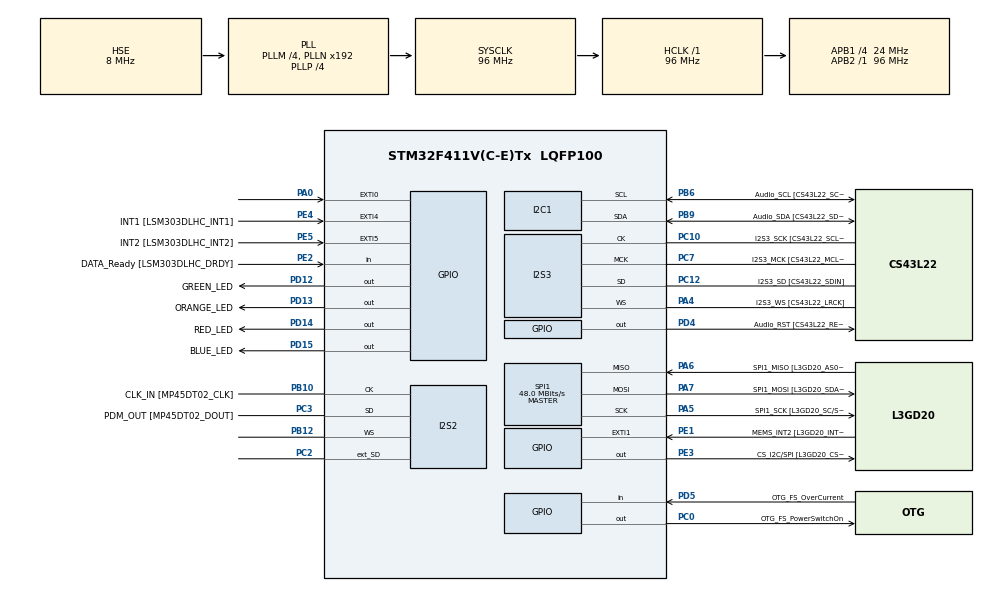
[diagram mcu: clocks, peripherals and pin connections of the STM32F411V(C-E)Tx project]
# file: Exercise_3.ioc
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FREERTOS.INCLUDE_vTaskDelayUntil=1
FREERTOS.Tasks01=GREEN_LED,0,128,Start_GREEN_LED,Default,NULL,Dynamic,NULL,NULL;RED_LED,0,128,Stat_RED_LED,Default,NULL,Dynamic,NULL,NULL
I2S2.AudioFreq=I2S_AUDIOFREQ_96K
I2S2.ErrorAudioFreq=0.15 %
I2S2.FullDuplexMode=I2S_FULLDUPLEXMODE_ENABLE
I2S2.Instance=SPI$Index
I2S2.RealAudioFreq=96.153 KHz
I2S2.VirtualMode=I2S_MODE_MASTER
I2S3.AudioFreq=I2S_AUDIOFREQ_96K
I2S3.ErrorAudioFreq=-6.99 %
I2S3.FullDuplexMode=I2S_FULLDUPLEXMODE_DISABLE
I2S3.Instance=SPI$Index
I2S3.RealAudioFreq=89.285 KHz
I2S3.VirtualMode=I2S_MODE_MASTER
Mcu.Family=STM32F4
Mcu.Name=STM32F411V(C-E)Tx
Mcu.Package=LQFP100
NVIC.PriorityGroup=NVIC_PRIORITYGROUP_4
NVIC.TIM1_UP_TIM10_IRQn=true\:0\:0\:false\:false\:true\:false\:false\:true
NVIC.TimeBase=TIM1_UP_TIM10_IRQn
NVIC.TimeBaseIP=TIM1
PA0-WKUP.GPIO_ModeDefaultEXTI=GPIO_MODE_EVT_RISING
PA0-WKUP.Signal=GPXTI0
PA10.GPIO_Label=OTG_FS_ID
PA10.Signal=USB_OTG_FS_ID
PA11.GPIO_Label=OTG_FS_DM
PA11.Signal=USB_OTG_FS_DM
PA12.GPIO_Label=OTG_FS_DP
PA12.Signal=USB_OTG_FS_DP
PA13.GPIO_Label=SWDIO
PA13.Mode=Serial_Wire
PA13.Signal=SYS_JTMS-SWDIO
PA14.GPIO_Label=SWCLK
PA14.Mode=Serial_Wire
PA14.Signal=SYS_JTCK-SWCLK
PA4.GPIO_Label=I2S3_WS [CS43L22_LRCK]
PA4.GPIO_Mode=GPIO_MODE_AF_PP
PA4.GPIO_PuPd=GPIO_NOPULL
PA4.GPIO_Speed=GPIO_SPEED_FREQ_LOW
PA4.Mode=Half_Duplex_Master
PA4.Signal=I2S3_WS
PA5.GPIO_Label=SPI1_SCK [L3GD20_SC/SPC]
PA5.Mode=Full_Duplex_Master
PA5.Signal=SPI1_SCK
PA6.GPIO_Label=SPI1_MISO [L3GD20_AS0/SDO]
PA6.Mode=Full_Duplex_Master
PA6.Signal=SPI1_MISO
PA7.GPIO_Label=SPI1_MOSI [L3GD20_SDA/SDI/SDO]
PA7.Mode=Full_Duplex_Master
PA7.Signal=SPI1_MOSI
PA9.GPIO_Label=VBUS_FS
PA9.Signal=USB_OTG_FS_VBUS
PB10.GPIO_Label=CLK_IN [MP45DT02_CLK]
PB10.Mode=Full_Duplex_Master
PB10.Signal=I2S2_CK
PB12.Mode=Full_Duplex_Master
PB12.Signal=I2S2_WS
PB3.GPIO_Label=SWO
PB3.Signal=SYS_JTDO-SWO
PB6.GPIO_Label=Audio_SCL [CS43L22_SCL]
PB6.GPIO_Mode=GPIO_MODE_AF_OD
PB6.GPIO_PuPd=GPIO_NOPULL
PB6.GPIO_Speed=GPIO_SPEED_FREQ_LOW
PB6.Mode=I2C
PB6.Signal=I2C1_SCL
PB9.GPIO_Label=Audio_SDA [CS43L22_SDA]
PB9.GPIO_Mode=GPIO_MODE_AF_OD
PB9.GPIO_PuPd=GPIO_NOPULL
PB9.GPIO_Speed=GPIO_SPEED_FREQ_LOW
PB9.Mode=I2C
PB9.Signal=I2C1_SDA
PC0.GPIO_Label=OTG_FS_PowerSwitchOn
PC0.PinState=GPIO_PIN_SET
PC0.Signal=GPIO_Output
PC10.GPIO_Label=I2S3_SCK [CS43L22_SCLK]
PC10.GPIO_Mode=GPIO_MODE_AF_PP
PC10.GPIO_PuPd=GPIO_NOPULL
PC10.GPIO_Speed=GPIO_SPEED_FREQ_LOW
PC10.Mode=Half_Duplex_Master
PC10.Signal=I2S3_CK
PC12.GPIO_Label=I2S3_SD [CS43L22_SDIN]
PC12.GPIO_Mode=GPIO_MODE_AF_PP
PC12.GPIO_PuPd=GPIO_NOPULL
PC12.GPIO_Speed=GPIO_SPEED_FREQ_LOW
PC12.Mode=Half_Duplex_Master
PC12.Signal=I2S3_SD
PC14-OSC32_IN.GPIO_Label=PC14-OSC32_IN
PC14-OSC32_IN.Mode=LSE-External-Oscillator
PC14-OSC32_IN.Signal=RCC_OSC32_IN
PC15-OSC32_OUT.GPIO_Label=PC15-OSC32_OUT
PC15-OSC32_OUT.Mode=LSE-External-Oscillator
PC15-OSC32_OUT.Signal=RCC_OSC32_OUT
PC2.Mode=Full_Duplex_Master
PC2.Signal=I2S2_ext_SD
PC3.GPIO_Label=PDM_OUT [MP45DT02_DOUT]
PC3.Mode=Full_Duplex_Master
PC3.Signal=I2S2_SD
PC7.GPIO_Label=I2S3_MCK [CS43L22_MCLK]
PC7.GPIO_Mode=GPIO_MODE_AF_PP
PC7.GPIO_PuPd=GPIO_NOPULL
PC7.GPIO_Speed=GPIO_SPEED_FREQ_LOW
PC7.Mode=Master_Clock_Activated
PC7.Signal=I2S3_MCK
PD12.GPIO_Label=GREEN_LED
PD12.GPIO_PuPd=GPIO_NOPULL
PD12.GPIO_Speed=GPIO_SPEED_FREQ_LOW
PD12.Signal=GPIO_Output
PD13.GPIO_Label=ORANGE_LED
PD13.GPIO_PuPd=GPIO_NOPULL
PD13.GPIO_Speed=GPIO_SPEED_FREQ_LOW
PD13.Signal=GPIO_Output
PD14.GPIO_Label=RED_LED
PD14.GPIO_PuPd=GPIO_NOPULL
PD14.GPIO_Speed=GPIO_SPEED_FREQ_LOW
PD14.Signal=GPIO_Output
PD15.GPIO_Label=BLUE_LED
PD15.GPIO_PuPd=GPIO_NOPULL
PD15.GPIO_Speed=GPIO_SPEED_FREQ_LOW
PD15.Signal=GPIO_Output
PD4.GPIO_Label=Audio_RST [CS43L22_RESET]
PD4.Signal=GPIO_Output
PD5.GPIO_Label=OTG_FS_OverCurrent
PD5.Signal=GPIO_Input
PE1.GPIO_Label=MEMS_INT2 [L3GD20_INT2]
PE1.GPIO_ModeDefaultEXTI=GPIO_MODE_EVT_RISING
PE1.Signal=GPXTI1
PE2.GPIO_Label=DATA_Ready [LSM303DLHC_DRDY]
PE2.Signal=GPIO_Input
PE3.GPIO_Label=CS_I2C/SPI [L3GD20_CS_I2C/SPI]
PE3.Signal=GPIO_Output
PE4.GPIO_Label=INT1 [LSM303DLHC_INT1]
PE4.GPIO_ModeDefaultEXTI=GPIO_MODE_EVT_RISING
PE4.Signal=GPXTI4
PE5.GPIO_Label=INT2 [LSM303DLHC_INT2]
PE5.GPIO_ModeDefaultEXTI=GPIO_MODE_EVT_RISING
PE5.Signal=GPXTI5
PH0\ -\ OSC_IN.GPIO_Label=PH0-OSC_IN
PH0\ -\ OSC_IN.Mode=HSE-External-Oscillator
PH0\ -\ OSC_IN.Signal=RCC_OSC_IN
PH1\ -\ OSC_OUT.GPIO_Label=PH1-OSC_OUT
PH1\ -\ OSC_OUT.Mode=HSE-External-Oscillator
PH1\ -\ OSC_OUT.Signal=RCC_OSC_OUT
ProjectManager.HeapSize=0x200
ProjectManager.StackSize=0x400
ProjectManager.TargetToolchain=STM32CubeIDE
RCC.48MHZClocksFreq_Value=48000000
RCC.AHBFreq_Value=96000000
RCC.APB1CLKDivider=RCC_HCLK_DIV4
RCC.APB1Freq_Value=24000000
RCC.APB1TimFreq_Value=48000000
RCC.APB2Freq_Value=96000000
RCC.APB2TimFreq_Value=96000000
RCC.CortexFreq_Value=96000000
RCC.HCLKFreq_Value=96000000
RCC.HSE_VALUE=8000000
RCC.HSI_VALUE=16000000
RCC.PLLI2SM=5
RCC.PLLI2SN=200
RCC.PLLM=4
RCC.PLLP=RCC_PLLP_DIV4
RCC.PLLQ=8
RCC.PLLSourceVirtual=RCC_PLLSOURCE_HSE
RCC.SYSCLKFreq_VALUE=96000000
RCC.SYSCLKSource=RCC_SYSCLKSOURCE_PLLCLK
RCC.VCOOutputFreq_Value=384000000
SPI1.BaudRatePrescaler=SPI_BAUDRATEPRESCALER_2
SPI1.CalculateBaudRate=48.0 MBits/s
SPI1.Direction=SPI_DIRECTION_2LINES
SPI1.Mode=SPI_MODE_MASTER
SPI1.VirtualType=VM_MASTER
VP_FREERTOS_VS_CMSIS_V1.Mode=CMSIS_V1
VP_SYS_VS_tim1.Mode=TIM1
board=STM32F411E-DISCO

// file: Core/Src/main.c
/* USER CODE BEGIN Header */
/**
  ******************************************************************************
  * @file           : main.c
  * @brief          : Main program body
  ******************************************************************************
  * @attention
  *
  * <h2><center>&copy; Copyright (c) 2024 STMicroelectronics.
  * All rights reserved.</center></h2>
  *
  * This software component is licensed by ST under Ultimate Liberty license
  * SLA0044, the "License"; You may not use this file except in compliance with
  * the License. You may obtain a copy of the License at:
  *                             www.st.com/SLA0044
  *
  ******************************************************************************
  */
/* USER CODE END Header */

#include "main.h"
#include "cmsis_os.h"

/* USER CODE BEGIN PTD */
#define GREEN_LED   GPIO_PIN_12
#define ORANGE_LED  GPIO_PIN_13
#define RED_LED     GPIO_PIN_14
#define BLUE_LED    GPIO_PIN_15
/* USER CODE END PTD */

I2C_HandleTypeDef hi2c1;

I2S_HandleTypeDef hi2s2;
I2S_HandleTypeDef hi2s3;

SPI_HandleTypeDef hspi1;

osThreadId GREEN_LEDHandle;
osThreadId RED_LEDHandle;

void SystemClock_Config(void);
static void MX_GPIO_Init(void);
static void MX_I2C1_Init(void);
static void MX_I2S2_Init(void);
static void MX_I2S3_Init(void);
static void MX_SPI1_Init(void);
void Start_GREEN_LED(void const * argument);
void Stat_RED_LED(void const * argument);

int main(void)
{

  /* MCU Configuration--------------------------------------------------------*/

  /* Reset of all peripherals, Initializes the Flash interface and the Systick. */
  HAL_Init();

  /* Configure the system clock */
  SystemClock_Config();

  /* Initialize all configured peripherals */
  MX_GPIO_Init();
  MX_I2C1_Init();
  MX_I2S2_Init();
  MX_I2S3_Init();
  MX_SPI1_Init();

  /* Create the thread(s) */
  /* definition and creation of GREEN_LED */
  osThreadDef(GREEN_LED, Start_GREEN_LED, osPriorityNormal, 0, 128);
  GREEN_LEDHandle = osThreadCreate(osThread(GREEN_LED), NULL);

  /* definition and creation of RED_LED */
  osThreadDef(RED_LED, Stat_RED_LED, osPriorityNormal, 0, 128);
  RED_LEDHandle = osThreadCreate(osThread(RED_LED), NULL);

  /* Start scheduler */
  osKernelStart();

  /* We should never get here as control is now taken by the scheduler */

  /* Infinite loop */
  while (1)
  {

  }
}

void SystemClock_Config(void)
{
  RCC_OscInitTypeDef RCC_OscInitStruct = {0};
  RCC_ClkInitTypeDef RCC_ClkInitStruct = {0};
  RCC_PeriphCLKInitTypeDef PeriphClkInitStruct = {0};

  /** Configure the main internal regulator output voltage
  */
  __HAL_RCC_PWR_CLK_ENABLE();
  __HAL_PWR_VOLTAGESCALING_CONFIG(PWR_REGULATOR_VOLTAGE_SCALE1);
  /** Initializes the CPU, AHB and APB busses clocks
  */
  RCC_OscInitStruct.OscillatorType = RCC_OSCILLATORTYPE_HSE;
  RCC_OscInitStruct.HSEState = RCC_HSE_ON;
  RCC_OscInitStruct.PLL.PLLState = RCC_PLL_ON;
  RCC_OscInitStruct.PLL.PLLSource = RCC_PLLSOURCE_HSE;
  RCC_OscInitStruct.PLL.PLLM = 4;
  RCC_OscInitStruct.PLL.PLLN = 192;
  RCC_OscInitStruct.PLL.PLLP = RCC_PLLP_DIV4;
  RCC_OscInitStruct.PLL.PLLQ = 8;
  if (HAL_RCC_OscConfig(&RCC_OscInitStruct) != HAL_OK)
  {
    Error_Handler();
  }
  /** Initializes the CPU, AHB and APB busses clocks
  */
  RCC_ClkInitStruct.ClockType = RCC_CLOCKTYPE_HCLK|RCC_CLOCKTYPE_SYSCLK
                              |RCC_CLOCKTYPE_PCLK1|RCC_CLOCKTYPE_PCLK2;
  RCC_ClkInitStruct.SYSCLKSource = RCC_SYSCLKSOURCE_PLLCLK;
  RCC_ClkInitStruct.AHBCLKDivider = RCC_SYSCLK_DIV1;
  RCC_ClkInitStruct.APB1CLKDivider = RCC_HCLK_DIV4;
  RCC_ClkInitStruct.APB2CLKDivider = RCC_HCLK_DIV1;

  if (HAL_RCC_ClockConfig(&RCC_ClkInitStruct, FLASH_LATENCY_3) != HAL_OK)
  {
    Error_Handler();
  }
  PeriphClkInitStruct.PeriphClockSelection = RCC_PERIPHCLK_I2S;
  PeriphClkInitStruct.PLLI2S.PLLI2SN = 200;
  PeriphClkInitStruct.PLLI2S.PLLI2SM = 5;
  PeriphClkInitStruct.PLLI2S.PLLI2SR = 2;
  if (HAL_RCCEx_PeriphCLKConfig(&PeriphClkInitStruct) != HAL_OK)
  {
    Error_Handler();
  }
}

static void MX_I2C1_Init(void)
{

  hi2c1.Instance = I2C1;
  hi2c1.Init.ClockSpeed = 100000;
  hi2c1.Init.DutyCycle = I2C_DUTYCYCLE_2;
  hi2c1.Init.OwnAddress1 = 0;
  hi2c1.Init.AddressingMode = I2C_ADDRESSINGMODE_7BIT;
  hi2c1.Init.DualAddressMode = I2C_DUALADDRESS_DISABLE;
  hi2c1.Init.OwnAddress2 = 0;
  hi2c1.Init.GeneralCallMode = I2C_GENERALCALL_DISABLE;
  hi2c1.Init.NoStretchMode = I2C_NOSTRETCH_DISABLE;
  if (HAL_I2C_Init(&hi2c1) != HAL_OK)
  {
    Error_Handler();
  }

}

static void MX_I2S2_Init(void)
{

  hi2s2.Instance = SPI2;
  hi2s2.Init.Mode = I2S_MODE_MASTER_TX;
  hi2s2.Init.Standard = I2S_STANDARD_PHILIPS;
  hi2s2.Init.DataFormat = I2S_DATAFORMAT_16B;
  hi2s2.Init.MCLKOutput = I2S_MCLKOUTPUT_DISABLE;
  hi2s2.Init.AudioFreq = I2S_AUDIOFREQ_96K;
  hi2s2.Init.CPOL = I2S_CPOL_LOW;
  hi2s2.Init.ClockSource = I2S_CLOCK_PLL;
  hi2s2.Init.FullDuplexMode = I2S_FULLDUPLEXMODE_ENABLE;
  if (HAL_I2S_Init(&hi2s2) != HAL_OK)
  {
    Error_Handler();
  }

}

static void MX_I2S3_Init(void)
{

  hi2s3.Instance = SPI3;
  hi2s3.Init.Mode = I2S_MODE_MASTER_TX;
  hi2s3.Init.Standard = I2S_STANDARD_PHILIPS;
  hi2s3.Init.DataFormat = I2S_DATAFORMAT_16B;
  hi2s3.Init.MCLKOutput = I2S_MCLKOUTPUT_ENABLE;
  hi2s3.Init.AudioFreq = I2S_AUDIOFREQ_96K;
  hi2s3.Init.CPOL = I2S_CPOL_LOW;
  hi2s3.Init.ClockSource = I2S_CLOCK_PLL;
  hi2s3.Init.FullDuplexMode = I2S_FULLDUPLEXMODE_DISABLE;
  if (HAL_I2S_Init(&hi2s3) != HAL_OK)
  {
    Error_Handler();
  }

}

static void MX_SPI1_Init(void)
{

  /* SPI1 parameter configuration*/
  hspi1.Instance = SPI1;
  hspi1.Init.Mode = SPI_MODE_MASTER;
  hspi1.Init.Direction = SPI_DIRECTION_2LINES;
  hspi1.Init.DataSize = SPI_DATASIZE_8BIT;
  hspi1.Init.CLKPolarity = SPI_POLARITY_LOW;
  hspi1.Init.CLKPhase = SPI_PHASE_1EDGE;
  hspi1.Init.NSS = SPI_NSS_SOFT;
  hspi1.Init.BaudRatePrescaler = SPI_BAUDRATEPRESCALER_2;
  hspi1.Init.FirstBit = SPI_FIRSTBIT_MSB;
  hspi1.Init.TIMode = SPI_TIMODE_DISABLE;
  hspi1.Init.CRCCalculation = SPI_CRCCALCULATION_DISABLE;
  hspi1.Init.CRCPolynomial = 10;
  if (HAL_SPI_Init(&hspi1) != HAL_OK)
  {
    Error_Handler();
  }

}

static void MX_GPIO_Init(void)
{
  GPIO_InitTypeDef GPIO_InitStruct = {0};

  /* GPIO Ports Clock Enable */
  __HAL_RCC_GPIOE_CLK_ENABLE();
  __HAL_RCC_GPIOC_CLK_ENABLE();
  __HAL_RCC_GPIOH_CLK_ENABLE();
  __HAL_RCC_GPIOA_CLK_ENABLE();
  __HAL_RCC_GPIOB_CLK_ENABLE();
  __HAL_RCC_GPIOD_CLK_ENABLE();

  /*Configure GPIO pin Output Level */
  HAL_GPIO_WritePin(CS_I2C_SPI_GPIO_Port, CS_I2C_SPI_Pin, GPIO_PIN_RESET);

  /*Configure GPIO pin Output Level */
  HAL_GPIO_WritePin(OTG_FS_PowerSwitchOn_GPIO_Port, OTG_FS_PowerSwitchOn_Pin, GPIO_PIN_SET);

  /*Configure GPIO pin Output Level */
  HAL_GPIO_WritePin(GPIOD, GREEN_LED_Pin|ORANGE_LED_Pin|RED_LED_Pin|BLUE_LED_Pin
                          |Audio_RST_Pin, GPIO_PIN_RESET);

  /*Configure GPIO pin : DATA_Ready_Pin */
  GPIO_InitStruct.Pin = DATA_Ready_Pin;
  GPIO_InitStruct.Mode = GPIO_MODE_INPUT;
  GPIO_InitStruct.Pull = GPIO_NOPULL;
  HAL_GPIO_Init(DATA_Ready_GPIO_Port, &GPIO_InitStruct);

  /*Configure GPIO pin : CS_I2C_SPI_Pin */
  GPIO_InitStruct.Pin = CS_I2C_SPI_Pin;
  GPIO_InitStruct.Mode = GPIO_MODE_OUTPUT_PP;
  GPIO_InitStruct.Pull = GPIO_NOPULL;
  GPIO_InitStruct.Speed = GPIO_SPEED_FREQ_LOW;
  HAL_GPIO_Init(CS_I2C_SPI_GPIO_Port, &GPIO_InitStruct);

  /*Configure GPIO pins : INT1_Pin INT2_Pin MEMS_INT2_Pin */
  GPIO_InitStruct.Pin = INT1_Pin|INT2_Pin|MEMS_INT2_Pin;
  GPIO_InitStruct.Mode = GPIO_MODE_EVT_RISING;
  GPIO_InitStruct.Pull = GPIO_NOPULL;
  HAL_GPIO_Init(GPIOE, &GPIO_InitStruct);

  /*Configure GPIO pin : OTG_FS_PowerSwitchOn_Pin */
  GPIO_InitStruct.Pin = OTG_FS_PowerSwitchOn_Pin;
  GPIO_InitStruct.Mode = GPIO_MODE_OUTPUT_PP;
  GPIO_InitStruct.Pull = GPIO_NOPULL;
  GPIO_InitStruct.Speed = GPIO_SPEED_FREQ_LOW;
  HAL_GPIO_Init(OTG_FS_PowerSwitchOn_GPIO_Port, &GPIO_InitStruct);

  /*Configure GPIO pin : PA0 */
  GPIO_InitStruct.Pin = GPIO_PIN_0;
  GPIO_InitStruct.Mode = GPIO_MODE_EVT_RISING;
  GPIO_InitStruct.Pull = GPIO_NOPULL;
  HAL_GPIO_Init(GPIOA, &GPIO_InitStruct);

  /*Configure GPIO pins : GREEN_LED_Pin ORANGE_LED_Pin RED_LED_Pin BLUE_LED_Pin
                           Audio_RST_Pin */
  GPIO_InitStruct.Pin = GREEN_LED_Pin|ORANGE_LED_Pin|RED_LED_Pin|BLUE_LED_Pin
                          |Audio_RST_Pin;
  GPIO_InitStruct.Mode = GPIO_MODE_OUTPUT_PP;
  GPIO_InitStruct.Pull = GPIO_NOPULL;
  GPIO_InitStruct.Speed = GPIO_SPEED_FREQ_LOW;
  HAL_GPIO_Init(GPIOD, &GPIO_InitStruct);

  /*Configure GPIO pin : VBUS_FS_Pin */
  GPIO_InitStruct.Pin = VBUS_FS_Pin;
  GPIO_InitStruct.Mode = GPIO_MODE_INPUT;
  GPIO_InitStruct.Pull = GPIO_NOPULL;
  HAL_GPIO_Init(VBUS_FS_GPIO_Port, &GPIO_InitStruct);

  /*Configure GPIO pins : OTG_FS_ID_Pin OTG_FS_DM_Pin OTG_FS_DP_Pin */
  GPIO_InitStruct.Pin = OTG_FS_ID_Pin|OTG_FS_DM_Pin|OTG_FS_DP_Pin;
  GPIO_InitStruct.Mode = GPIO_MODE_AF_PP;
  GPIO_InitStruct.Pull = GPIO_NOPULL;
  GPIO_InitStruct.Speed = GPIO_SPEED_FREQ_VERY_HIGH;
  GPIO_InitStruct.Alternate = GPIO_AF10_OTG_FS;
  HAL_GPIO_Init(GPIOA, &GPIO_InitStruct);

  /*Configure GPIO pin : OTG_FS_OverCurrent_Pin */
  GPIO_InitStruct.Pin = OTG_FS_OverCurrent_Pin;
  GPIO_InitStruct.Mode = GPIO_MODE_INPUT;
  GPIO_InitStruct.Pull = GPIO_NOPULL;
  HAL_GPIO_Init(OTG_FS_OverCurrent_GPIO_Port, &GPIO_InitStruct);

}

void Start_GREEN_LED(void const * argument)
{
  /* USER CODE BEGIN 5 */
  TickType_t TaskTimeStamp;
  TaskTimeStamp = xTaskGetTickCount();
  /* Infinite loop */
  for(;;)
  {
	HAL_GPIO_WritePin(GPIOD, GREEN_LED, GPIO_PIN_SET);
	for(int i=0; i<1000000; i++);
	vTaskDelayUntil(&TaskTimeStamp,2000);
	HAL_GPIO_WritePin(GPIOD, GREEN_LED, GPIO_PIN_RESET);
	vTaskDelayUntil(&TaskTimeStamp,1500);
  }
  /* USER CODE END 5 */
}

void Stat_RED_LED(void const * argument)
{
  /* USER CODE BEGIN Stat_RED_LED */
  TickType_t TaskTimeStamp;
  TaskTimeStamp = xTaskGetTickCount();
  /* Infinite loop */
  for(;;)
  {
    HAL_GPIO_WritePin(GPIOD, RED_LED, GPIO_PIN_SET);
	for(int i=0; i<1000000; i++);
	vTaskDelayUntil(&TaskTimeStamp,1000);
	HAL_GPIO_WritePin(GPIOD, RED_LED, GPIO_PIN_RESET);
	vTaskDelayUntil(&TaskTimeStamp,1000);
  }
  /* USER CODE END Stat_RED_LED */
}

void HAL_TIM_PeriodElapsedCallback(TIM_HandleTypeDef *htim)
{
  if (htim->Instance == TIM1) {
    HAL_IncTick();
  }
}

void Error_Handler(void)
{
}

/************************ (C) COPYRIGHT STMicroelectronics *****END OF FILE****/
